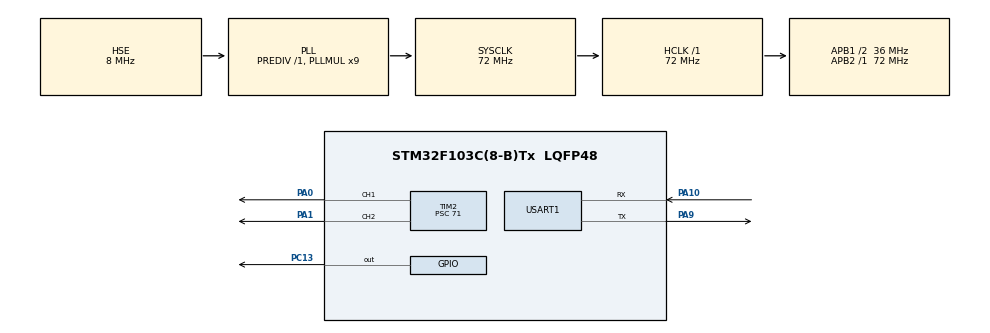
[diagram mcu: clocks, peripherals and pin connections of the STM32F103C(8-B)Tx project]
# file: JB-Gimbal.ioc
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Mcu.Family=STM32F1
Mcu.Name=STM32F103C(8-B)Tx
Mcu.Package=LQFP48
NVIC.PriorityGroup=NVIC_PRIORITYGROUP_4
NVIC.USART1_IRQn=true\:0\:0\:false\:false\:true\:true\:true\:true
PA0-WKUP.Signal=S_TIM2_CH1_ETR
PA1.Signal=S_TIM2_CH2
PA10.Mode=Asynchronous
PA10.Signal=USART1_RX
PA13.Mode=Serial_Wire
PA13.Signal=SYS_JTMS-SWDIO
PA14.Mode=Serial_Wire
PA14.Signal=SYS_JTCK-SWCLK
PA9.Mode=Asynchronous
PA9.Signal=USART1_TX
PC13-TAMPER-RTC.Signal=GPIO_Output
PD0-OSC_IN.Mode=HSE-External-Oscillator
PD0-OSC_IN.Signal=RCC_OSC_IN
PD1-OSC_OUT.Mode=HSE-External-Oscillator
PD1-OSC_OUT.Signal=RCC_OSC_OUT
ProjectManager.HeapSize=0x200
ProjectManager.StackSize=0x400
ProjectManager.TargetToolchain=Makefile
RCC.AHBFreq_Value=72000000
RCC.APB1CLKDivider=RCC_HCLK_DIV2
RCC.APB1Freq_Value=36000000
RCC.APB1TimFreq_Value=72000000
RCC.APB2Freq_Value=72000000
RCC.APB2TimFreq_Value=72000000
RCC.HCLKFreq_Value=72000000
RCC.PLLMUL=RCC_PLL_MUL9
RCC.PLLSourceVirtual=RCC_PLLSOURCE_HSE
RCC.SYSCLKFreq_VALUE=72000000
RCC.SYSCLKSource=RCC_SYSCLKSOURCE_PLLCLK
RCC.USBFreq_Value=72000000
SH.S_TIM2_CH1_ETR.0=TIM2_CH1,PWM Generation1 CH1
SH.S_TIM2_CH2.0=TIM2_CH2,PWM Generation2 CH2
TIM2.Channel-PWM\ Generation1\ CH1=TIM_CHANNEL_1
TIM2.Channel-PWM\ Generation2\ CH2=TIM_CHANNEL_2
TIM2.Period=19999
TIM2.Prescaler=71
TIM2.Pulse-PWM\ Generation1\ CH1=1500
TIM2.Pulse-PWM\ Generation2\ CH2=1500
USART1.VirtualMode=VM_ASYNC
board=custom

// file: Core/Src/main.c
/* USER CODE BEGIN Header */
/**
  ******************************************************************************
  * @file           : main.c
  * @brief          : Main program body
  ******************************************************************************
  * @attention
  *
  * Copyright (c) 2026 STMicroelectronics.
  * All rights reserved.
  *
  * This software is licensed under terms that can be found in the LICENSE file
  * in the root directory of this software component.
  * If no LICENSE file comes with this software, it is provided AS-IS.
  *
  ******************************************************************************
  */
/* USER CODE END Header */
#include "main.h"
#include "tim.h"
#include "usart.h"
#include "gpio.h"
#include <string.h>

/* USER CODE BEGIN PD */
#define KP_YAW       -6.0f
#define KD_YAW        -4.0f
#define KP_PITCH     -6.0f
#define KD_PITCH      -4.0f
#define OFFSET_YAW   0       /* 中位校准偏移 */
#define OFFSET_PITCH 0
/* USER CODE END PD */

/* USER CODE BEGIN PV */
uint8_t  rx_byte;
uint8_t  rx_buf[32];
uint8_t  rx_idx = 0;
volatile float g_yaw    = 0.0f;
volatile float g_pitch  = 0.0f;
volatile float g_dist   = 0.0f;
volatile uint8_t g_fire = 0;

/* USER CODE END PV */

void SystemClock_Config(void);

/* USER CODE BEGIN 0 */
#include <stdio.h>
int __io_putchar(int ch)
{
    HAL_UART_Transmit(&huart1, (uint8_t *)&ch, 1, HAL_MAX_DELAY);
    return ch;
}

int _write(int fd, char *ptr, int len)
{
    HAL_UART_Transmit(&huart1, (uint8_t *)ptr, len, HAL_MAX_DELAY);
    return len;
}
/* USER CODE END 0 */

int main(void)
{

  /* MCU Configuration--------------------------------------------------------*/

  /* Reset of all peripherals, Initializes the Flash interface and the Systick. */
  HAL_Init();

  /* Configure the system clock */
  SystemClock_Config();

  /* Initialize all configured peripherals */
  MX_GPIO_Init();
  MX_USART1_UART_Init();
  MX_TIM2_Init();
  /* USER CODE BEGIN 2 */
  HAL_UART_Receive_IT(&huart1,&rx_byte,1);    /* UART1 */
  HAL_Delay(600);
  HAL_TIM_PWM_Start(&htim2, TIM_CHANNEL_1);   /* yaw */
  HAL_TIM_PWM_Start(&htim2, TIM_CHANNEL_2);   /* pitch */
  /* USER CODE END 2 */

  /* Infinite loop */
  while (1)
  {

    /* USER CODE BEGIN 3 */
    static float last_yaw = 0.0f;
    static float last_pitch = 0.0f;
    static uint32_t last_print = 0;

    float err_yaw = g_yaw;
    float d_err_yaw = err_yaw - last_yaw;
    last_yaw = err_yaw;

    float err_pitch = g_pitch;
    float d_err_pitch = err_pitch - last_pitch;
    last_pitch = err_pitch;
    if (HAL_GetTick() - last_print > 500) {      // 每 500ms 打印一次
      last_print = HAL_GetTick();
      printf("yaw=%.2f pitch=%.2f dist=%.3f fire=%d\r\n",g_yaw, g_pitch, g_dist, g_fire);
      HAL_GPIO_TogglePin(GPIOC,GPIO_PIN_13);
    }
    // ② Yaw 控制（270° 舵机，PA0）
    int32_t p_yaw = 1500 + (int32_t)(KP_YAW * err_yaw + KD_YAW * d_err_yaw);
    if (p_yaw < 500)  p_yaw = 500;
    if (p_yaw > 2500) p_yaw = 2500;
    __HAL_TIM_SET_COMPARE(&htim2, TIM_CHANNEL_1, p_yaw);

    // ③ Pitch 控制（180° 舵机，PA1）
    int32_t p_pitch = 1500 + (int32_t)(KP_PITCH * err_pitch + KD_PITCH * d_err_pitch);
    if (p_pitch < 500)  p_pitch = 500;
    if (p_pitch > 2500) p_pitch = 2500;
    __HAL_TIM_SET_COMPARE(&htim2, TIM_CHANNEL_2, p_pitch);
  }
  /* USER CODE END 3 */
}

void SystemClock_Config(void)
{
  RCC_OscInitTypeDef RCC_OscInitStruct = {0};
  RCC_ClkInitTypeDef RCC_ClkInitStruct = {0};

  /** Initializes the RCC Oscillators according to the specified parameters
  * in the RCC_OscInitTypeDef structure.
  */
  RCC_OscInitStruct.OscillatorType = RCC_OSCILLATORTYPE_HSE;
  RCC_OscInitStruct.HSEState = RCC_HSE_ON;
  RCC_OscInitStruct.HSEPredivValue = RCC_HSE_PREDIV_DIV1;
  RCC_OscInitStruct.HSIState = RCC_HSI_ON;
  RCC_OscInitStruct.PLL.PLLState = RCC_PLL_ON;
  RCC_OscInitStruct.PLL.PLLSource = RCC_PLLSOURCE_HSE;
  RCC_OscInitStruct.PLL.PLLMUL = RCC_PLL_MUL9;
  if (HAL_RCC_OscConfig(&RCC_OscInitStruct) != HAL_OK)
  {
    Error_Handler();
  }

  /** Initializes the CPU, AHB and APB buses clocks
  */
  RCC_ClkInitStruct.ClockType = RCC_CLOCKTYPE_HCLK|RCC_CLOCKTYPE_SYSCLK
                              |RCC_CLOCKTYPE_PCLK1|RCC_CLOCKTYPE_PCLK2;
  RCC_ClkInitStruct.SYSCLKSource = RCC_SYSCLKSOURCE_PLLCLK;
  RCC_ClkInitStruct.AHBCLKDivider = RCC_SYSCLK_DIV1;
  RCC_ClkInitStruct.APB1CLKDivider = RCC_HCLK_DIV2;
  RCC_ClkInitStruct.APB2CLKDivider = RCC_HCLK_DIV1;

  if (HAL_RCC_ClockConfig(&RCC_ClkInitStruct, FLASH_LATENCY_2) != HAL_OK)
  {
    Error_Handler();
  }
}

/* USER CODE BEGIN 4 */
void HAL_UART_RxCpltCallback(UART_HandleTypeDef *huart)
{
  if (huart->Instance != USART1) return;
  // HAL_UART_Transmit(&huart1,&rx_byte,1,10);
  rx_buf[rx_idx++] = rx_byte;

  if (rx_idx >= 2 && rx_buf[rx_idx-2] == 0xAA && rx_buf[rx_idx-1] == 0x55) {
    rx_idx = 2;                              // 帧头对齐
  }
  else if (rx_idx >= 18) {
    if (rx_buf[17] == 0x0D) {                // 帧尾
      uint8_t sum = 0;
      for (int i = 2; i < 16; i++) sum += rx_buf[i];
      if (sum == rx_buf[16]) {             // 校验
        float yaw, pitch, dist;
        memcpy(&yaw,   &rx_buf[2],  4);
        memcpy(&pitch, &rx_buf[6],  4);
        memcpy(&dist,  &rx_buf[10], 4);
        g_yaw   = yaw;
        g_pitch = pitch;
        g_dist  = dist;
        g_fire  = rx_buf[14];
      }
    }
    rx_idx = 0;
  }
  HAL_UART_Receive_IT(huart, &rx_byte, 1);     // ★ 必须重开
}
void HAL_UART_ErrorCallback(UART_HandleTypeDef *huart)
{
    if (huart->Instance != USART1) return;

    // ★ 清掉溢出标志
    __HAL_UART_CLEAR_OREFLAG(huart);

    // ★ 重新开启接收（否则永久停收）
    HAL_UART_Receive_IT(huart, &rx_byte, 1);
}
/* USER CODE END 4 */

void Error_Handler(void)
{
  __disable_irq();
  while (1)
  {
  }
}
